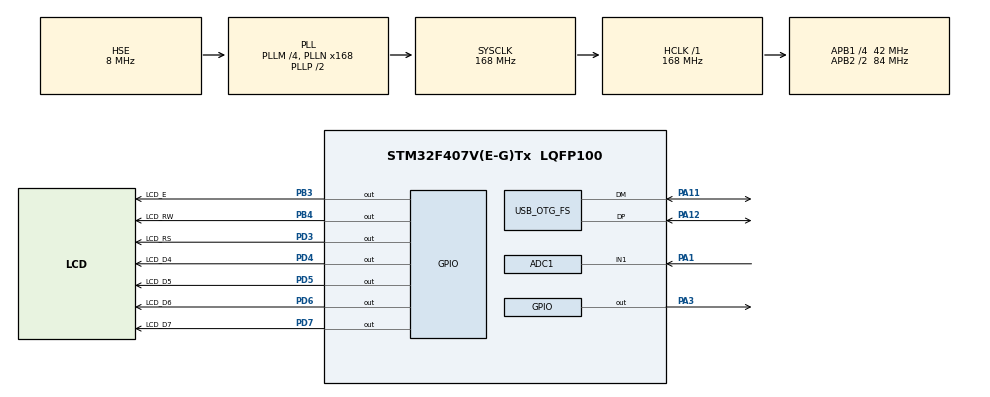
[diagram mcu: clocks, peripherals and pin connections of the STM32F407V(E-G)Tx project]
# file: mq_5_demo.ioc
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ADC1.Channel-0\#ChannelRegularConversion=ADC_CHANNEL_1
ADC1.ContinuousConvMode=ENABLE
ADC1.NbrOfConversion=1
ADC1.NbrOfConversionFlag=1
ADC1.Rank-0\#ChannelRegularConversion=1
ADC1.SamplingTime-0\#ChannelRegularConversion=ADC_SAMPLETIME_3CYCLES
ADC1.ScanConvMode=DISABLE
ADC1.master=1
Mcu.Family=STM32F4
Mcu.Name=STM32F407V(E-G)Tx
Mcu.Package=LQFP100
NVIC.OTG_FS_IRQn=true\:0\:0\:false\:false\:true\:false
NVIC.PriorityGroup=NVIC_PRIORITYGROUP_4
PA1.Signal=ADCx_IN1
PA11.Mode=Device_Only
PA11.Signal=USB_OTG_FS_DM
PA12.Mode=Device_Only
PA12.Signal=USB_OTG_FS_DP
PA13.Mode=Serial_Wire
PA13.Signal=SYS_JTMS-SWDIO
PA14.Mode=Serial_Wire
PA14.Signal=SYS_JTCK-SWCLK
PA3.Signal=GPIO_Output
PB3.GPIO_Label=LCD_E
PB3.Signal=GPIO_Output
PB4.GPIO_Label=LCD_RW
PB4.Signal=GPIO_Output
PD3.GPIO_Label=LCD_RS
PD3.Signal=GPIO_Output
PD4.GPIO_Label=LCD_D4
PD4.Signal=GPIO_Output
PD5.GPIO_Label=LCD_D5
PD5.Signal=GPIO_Output
PD6.GPIO_Label=LCD_D6
PD6.Signal=GPIO_Output
PD7.GPIO_Label=LCD_D7
PD7.Signal=GPIO_Output
PH0-OSC_IN.Mode=HSE-External-Oscillator
PH0-OSC_IN.Signal=RCC_OSC_IN
PH1-OSC_OUT.Mode=HSE-External-Oscillator
PH1-OSC_OUT.Signal=RCC_OSC_OUT
ProjectManager.HeapSize=0x600
ProjectManager.StackSize=0x400
ProjectManager.TargetToolchain=MDK-ARM V5
RCC.48MHZClocksFreq_Value=48000000
RCC.AHBFreq_Value=168000000
RCC.APB1CLKDivider=RCC_HCLK_DIV4
RCC.APB1Freq_Value=42000000
RCC.APB1TimFreq_Value=84000000
RCC.APB2CLKDivider=RCC_HCLK_DIV2
RCC.APB2Freq_Value=84000000
RCC.APB2TimFreq_Value=168000000
RCC.CortexFreq_Value=168000000
RCC.HCLKFreq_Value=168000000
RCC.HSE_VALUE=8000000
RCC.HSI_VALUE=16000000
RCC.LSE_VALUE=32768
RCC.PLLM=4
RCC.PLLN=168
RCC.PLLQ=7
RCC.SYSCLKFreq_VALUE=168000000
RCC.SYSCLKSource=RCC_SYSCLKSOURCE_PLLCLK
RCC.VCOOutputFreq_Value=336000000
SH.ADCx_IN1.0=ADC1_IN1,IN1
USB_DEVICE.CLASS_NAME_FS=CDC
USB_DEVICE.VirtualMode-CDC_FS=Cdc
USB_DEVICE.VirtualModeFS=Cdc_FS
USB_OTG_FS.VirtualMode=Device_Only
VP_FATFS_VS_Generic.Mode=User_defined
VP_USB_DEVICE_VS_USB_DEVICE_CDC_FS.Mode=CDC_FS
board=custom

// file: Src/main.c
/* USER CODE BEGIN Header */
/**
  ******************************************************************************
  * @file           : main.c
  * @brief          : Main program body
  ******************************************************************************
  * This notice applies to any and all portions of this file
  * that are not between comment pairs USER CODE BEGIN and
  * USER CODE END. Other portions of this file, whether
  * inserted by the user or by software development tools
  * are owned by their respective copyright owners.
  *
  * Copyright (c) 2019 STMicroelectronics International N.V.
  * All rights reserved.
  *
  * Redistribution and use in source and binary forms, with or without
  * modification, are permitted, provided that the following conditions are met:
  *
  * 1. Redistribution of source code must retain the above copyright notice,
  *    this list of conditions and the following disclaimer.
  * 2. Redistributions in binary form must reproduce the above copyright notice,
  *    this list of conditions and the following disclaimer in the documentation
  *    and/or other materials provided with the distribution.
  * 3. Neither the name of STMicroelectronics nor the names of other
  *    contributors to this software may be used to endorse or promote products
  *    derived from this software without specific written permission.
  * 4. This software, including modifications and/or derivative works of this
  *    software, must execute solely and exclusively on microcontroller or
  *    microprocessor devices manufactured by or for STMicroelectronics.
  * 5. Redistribution and use of this software other than as permitted under
  *    this license is void and will automatically terminate your rights under
  *    this license.
  *
  * THIS SOFTWARE IS PROVIDED BY STMICROELECTRONICS AND CONTRIBUTORS "AS IS"
  * AND ANY EXPRESS, IMPLIED OR STATUTORY WARRANTIES, INCLUDING, BUT NOT
  * LIMITED TO, THE IMPLIED WARRANTIES OF MERCHANTABILITY, FITNESS FOR A
  * PARTICULAR PURPOSE AND NON-INFRINGEMENT OF THIRD PARTY INTELLECTUAL PROPERTY
  * RIGHTS ARE DISCLAIMED TO THE FULLEST EXTENT PERMITTED BY LAW. IN NO EVENT
  * SHALL STMICROELECTRONICS OR CONTRIBUTORS BE LIABLE FOR ANY DIRECT, INDIRECT,
  * INCIDENTAL, SPECIAL, EXEMPLARY, OR CONSEQUENTIAL DAMAGES (INCLUDING, BUT NOT
  * LIMITED TO, PROCUREMENT OF SUBSTITUTE GOODS OR SERVICES; LOSS OF USE, DATA,
  * OR PROFITS; OR BUSINESS INTERRUPTION) HOWEVER CAUSED AND ON ANY THEORY OF
  * LIABILITY, WHETHER IN CONTRACT, STRICT LIABILITY, OR TORT (INCLUDING
  * NEGLIGENCE OR OTHERWISE) ARISING IN ANY WAY OUT OF THE USE OF THIS SOFTWARE,
  * EVEN IF ADVISED OF THE POSSIBILITY OF SUCH DAMAGE.
  *
  ******************************************************************************
  */
/* USER CODE END Header */

#include "main.h"
#include "fatfs.h"
#include "usb_device.h"

/* USER CODE BEGIN Includes */
#include "LCD.h"
/* USER CODE END Includes */

ADC_HandleTypeDef hadc1;

void SystemClock_Config(void);
static void MX_GPIO_Init(void);
static void MX_ADC1_Init(void);

/* USER CODE BEGIN 0 */
uint32_t adc_value = 0;
/* USER CODE END 0 */

int main(void)
{
  /* USER CODE BEGIN 1 */
  uint8_t air_status;
  /* USER CODE END 1 */

  /* MCU Configuration--------------------------------------------------------*/

  /* Reset of all peripherals, Initializes the Flash interface and the Systick. */
  HAL_Init();

  /* Configure the system clock */
  SystemClock_Config();

  /* Initialize all configured peripherals */
  MX_GPIO_Init();
  MX_FATFS_Init();
  MX_USB_DEVICE_Init();
  MX_ADC1_Init();
  /* USER CODE BEGIN 2 */
  LCD_Init();
  /* USER CODE END 2 */

  /* Infinite loop */
  /* USER CODE BEGIN WHILE */
	char air[40];
  while (1)
  {
		HAL_ADC_Start(&hadc1);
    adc_value  = HAL_ADC_GetValue(&hadc1);
    air_status = (adc_value*100)/2100;
		sprintf(air, "Air: %d%%", air_status);
    LCD_Puts(0,0,air);

		if (air_status > 60){
			HAL_GPIO_WritePin(GPIOA, GPIO_PIN_3, GPIO_PIN_SET);
		} else {
			HAL_GPIO_WritePin(GPIOA, GPIO_PIN_3, GPIO_PIN_RESET);
		}
		HAL_Delay(500);
    /* USER CODE END WHILE */

  }
}

void SystemClock_Config(void)
{
  RCC_OscInitTypeDef RCC_OscInitStruct = {0};
  RCC_ClkInitTypeDef RCC_ClkInitStruct = {0};

  /**Configure the main internal regulator output voltage
  */
  __HAL_RCC_PWR_CLK_ENABLE();
  __HAL_PWR_VOLTAGESCALING_CONFIG(PWR_REGULATOR_VOLTAGE_SCALE1);
  /**Initializes the CPU, AHB and APB busses clocks
  */
  RCC_OscInitStruct.OscillatorType = RCC_OSCILLATORTYPE_HSE;
  RCC_OscInitStruct.HSEState = RCC_HSE_ON;
  RCC_OscInitStruct.PLL.PLLState = RCC_PLL_ON;
  RCC_OscInitStruct.PLL.PLLSource = RCC_PLLSOURCE_HSE;
  RCC_OscInitStruct.PLL.PLLM = 4;
  RCC_OscInitStruct.PLL.PLLN = 168;
  RCC_OscInitStruct.PLL.PLLP = RCC_PLLP_DIV2;
  RCC_OscInitStruct.PLL.PLLQ = 7;
  if (HAL_RCC_OscConfig(&RCC_OscInitStruct) != HAL_OK)
  {
    Error_Handler();
  }
  /**Initializes the CPU, AHB and APB busses clocks
  */
  RCC_ClkInitStruct.ClockType = RCC_CLOCKTYPE_HCLK|RCC_CLOCKTYPE_SYSCLK
                              |RCC_CLOCKTYPE_PCLK1|RCC_CLOCKTYPE_PCLK2;
  RCC_ClkInitStruct.SYSCLKSource = RCC_SYSCLKSOURCE_PLLCLK;
  RCC_ClkInitStruct.AHBCLKDivider = RCC_SYSCLK_DIV1;
  RCC_ClkInitStruct.APB1CLKDivider = RCC_HCLK_DIV4;
  RCC_ClkInitStruct.APB2CLKDivider = RCC_HCLK_DIV2;

  if (HAL_RCC_ClockConfig(&RCC_ClkInitStruct, FLASH_LATENCY_5) != HAL_OK)
  {
    Error_Handler();
  }
}

static void MX_ADC1_Init(void)
{

  ADC_ChannelConfTypeDef sConfig = {0};

  /**Configure the global features of the ADC (Clock, Resolution, Data Alignment and number of conversion)
  */
  hadc1.Instance = ADC1;
  hadc1.Init.ClockPrescaler = ADC_CLOCK_SYNC_PCLK_DIV4;
  hadc1.Init.Resolution = ADC_RESOLUTION_12B;
  hadc1.Init.ScanConvMode = DISABLE;
  hadc1.Init.ContinuousConvMode = ENABLE;
  hadc1.Init.DiscontinuousConvMode = DISABLE;
  hadc1.Init.ExternalTrigConvEdge = ADC_EXTERNALTRIGCONVEDGE_NONE;
  hadc1.Init.ExternalTrigConv = ADC_SOFTWARE_START;
  hadc1.Init.DataAlign = ADC_DATAALIGN_RIGHT;
  hadc1.Init.NbrOfConversion = 1;
  hadc1.Init.DMAContinuousRequests = DISABLE;
  hadc1.Init.EOCSelection = ADC_EOC_SINGLE_CONV;
  if (HAL_ADC_Init(&hadc1) != HAL_OK)
  {
    Error_Handler();
  }
  /**Configure for the selected ADC regular channel its corresponding rank in the sequencer and its sample time.
  */
  sConfig.Channel = ADC_CHANNEL_1;
  sConfig.Rank = 1;
  sConfig.SamplingTime = ADC_SAMPLETIME_3CYCLES;
  if (HAL_ADC_ConfigChannel(&hadc1, &sConfig) != HAL_OK)
  {
    Error_Handler();
  }

}

static void MX_GPIO_Init(void)
{
  GPIO_InitTypeDef GPIO_InitStruct = {0};

  /* GPIO Ports Clock Enable */
  __HAL_RCC_GPIOH_CLK_ENABLE();
  __HAL_RCC_GPIOA_CLK_ENABLE();
  __HAL_RCC_GPIOD_CLK_ENABLE();
  __HAL_RCC_GPIOB_CLK_ENABLE();

  /*Configure GPIO pin Output Level */
  HAL_GPIO_WritePin(GPIOA, GPIO_PIN_3, GPIO_PIN_RESET);

  /*Configure GPIO pin Output Level */
  HAL_GPIO_WritePin(GPIOD, LCD_RS_Pin|LCD_D4_Pin|LCD_D5_Pin|LCD_D6_Pin
                          |LCD_D7_Pin, GPIO_PIN_RESET);

  /*Configure GPIO pin Output Level */
  HAL_GPIO_WritePin(GPIOB, LCD_E_Pin|LCD_RW_Pin, GPIO_PIN_RESET);

  /*Configure GPIO pin : PA3 */
  GPIO_InitStruct.Pin = GPIO_PIN_3;
  GPIO_InitStruct.Mode = GPIO_MODE_OUTPUT_PP;
  GPIO_InitStruct.Pull = GPIO_NOPULL;
  GPIO_InitStruct.Speed = GPIO_SPEED_FREQ_LOW;
  HAL_GPIO_Init(GPIOA, &GPIO_InitStruct);

  /*Configure GPIO pins : LCD_RS_Pin LCD_D4_Pin LCD_D5_Pin LCD_D6_Pin
                           LCD_D7_Pin */
  GPIO_InitStruct.Pin = LCD_RS_Pin|LCD_D4_Pin|LCD_D5_Pin|LCD_D6_Pin
                          |LCD_D7_Pin;
  GPIO_InitStruct.Mode = GPIO_MODE_OUTPUT_PP;
  GPIO_InitStruct.Pull = GPIO_NOPULL;
  GPIO_InitStruct.Speed = GPIO_SPEED_FREQ_LOW;
  HAL_GPIO_Init(GPIOD, &GPIO_InitStruct);

  /*Configure GPIO pins : LCD_E_Pin LCD_RW_Pin */
  GPIO_InitStruct.Pin = LCD_E_Pin|LCD_RW_Pin;
  GPIO_InitStruct.Mode = GPIO_MODE_OUTPUT_PP;
  GPIO_InitStruct.Pull = GPIO_NOPULL;
  GPIO_InitStruct.Speed = GPIO_SPEED_FREQ_LOW;
  HAL_GPIO_Init(GPIOB, &GPIO_InitStruct);

}

void Error_Handler(void)
{
}

/************************ (C) COPYRIGHT STMicroelectronics *****END OF FILE****/
